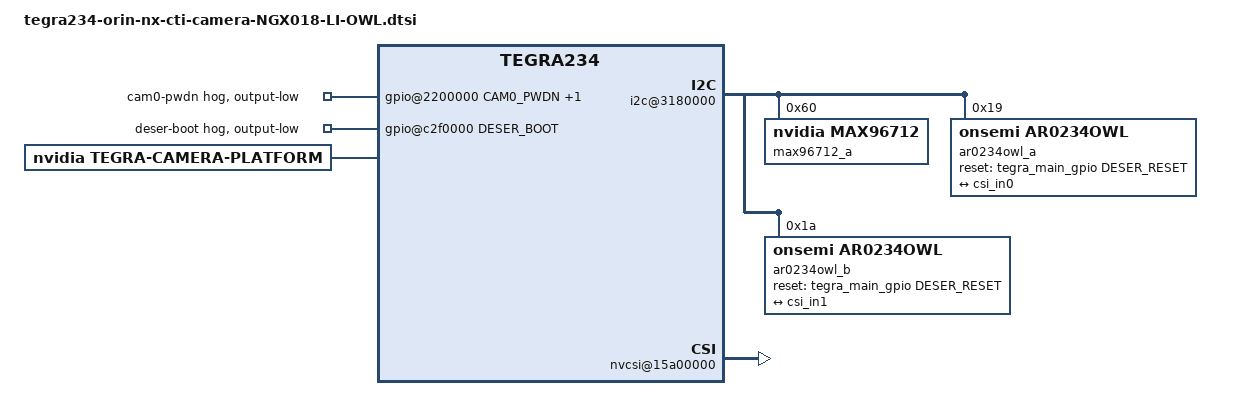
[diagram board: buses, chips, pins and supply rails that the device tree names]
/*
 * Copyright (c) 2022, Connect Tech Inc.  All rights reserved.
 *
 * This program is free software; you can redistribute it and/or modify it
 * under the terms and conditions of the GNU General Public License,
 * version 2, as published by the Free Software Foundation.
 *
 * This program is distributed in the hope it will be useful, but WITHOUT
 * ANY WARRANTY; without even the implied warranty of MERCHANTABILITY or
 * FITNESS FOR A PARTICULAR PURPOSE.  See the GNU General Public License for
 * more details.
 *
 * You should have received a copy of the GNU General Public License
 * along with this program.  If not, see <http://www.gnu.org/licenses/>.
 */

//#include "tegra234-orin-agx-cti-csi.dtsi"
#include "dt-bindings/clock/tegra234-clock.h"

// #define RST_IO_EXP 			TEGRA234_MAIN_GPIO(AC,1)
// #define PWM_CALIB_GPIO 		TEGRA234_MAIN_GPIO(H,7) //CAM0_PWDN
// #define TRIGGER_SEL 		TEGRA234_MAIN_GPIO(I,0) //CAM0_RST
// #define PWR_EN				TEGRA234_MAIN_GPIO(AC, 7)

#define CAM0_PWDN	TEGRA234_MAIN_GPIO(H, 6)
// trig 	- 	GPIO3 PR.00 	- 	MFP7
// reset 	- 	GPIO3 PQ.05 	- 	MFP8
// boot 	- 	GPIO3 PCC.03 	- 	MFP9
// int 		- 	GPIO3 PCC.01 	- 	MFP10
#define DESER_RESET TEGRA234_MAIN_GPIO(Q, 5)
#define DESER_TRIG  TEGRA234_MAIN_GPIO(R, 0)
#define DESER_BOOT  TEGRA234_AON_GPIO(CC, 3)
#define DESER_INT   TEGRA234_AON_GPIO(CC, 1)

#define CAM_LANES 	4
#define CAM_LANES_STRING "4"
#define MODE_VC "0"
#define LANE_POLARITY "6"
#define SERDES_PIX_CLK_HZ "590000000" 
#define PIX_CLK_HZ   "134400000"
#define TRIG_MODE 1
#define MAX929X_AB 1
#define MAX929X_A  0

#define TEGRA_SINTERFACE "serial_a"

                                        

#define LI_OWL_MODE0 mode0 { \
					mclk_khz = "24000"; \
					num_lanes = CAM_LANES_STRING; \
					tegra_sinterface = TEGRA_SINTERFACE; \
					phy_mode = "DPHY"; \
					vc_id = MODE_VC; \
					discontinuous_clk = "no"; \
					dpcm_enable = "false"; \
					cil_settletime = "0"; \
					dynamic_pixel_bit_depth = "10"; \
					csi_pixel_bit_depth = "10"; \
					mode_type = "bayer"; \
					pixel_phase = "grbg"; \
					active_w = "1920"; \
					active_h = "1200"; \
					readout_orientation = "0"; \
					line_length = "2448"; \
					inherent_gain = "1"; \
					mclk_multiplier = "3.01"; \
					lane_polarity = LANE_POLARITY; \
					pix_clk_hz = PIX_CLK_HZ; \
					serdes_pix_clk_hz = SERDES_PIX_CLK_HZ; \
					gain_factor = "100"; \
					min_gain_val = "100"; \
					max_gain_val = "1600"; \
					step_gain_val = "1"; \
					default_gain = "100"; \
					min_hdr_ratio = "1"; \
					max_hdr_ratio = "1"; \
					framerate_factor = "1000000"; \
					min_framerate = "30000000"; \
					max_framerate = "30000000"; \
					step_framerate = "30000000"; \
					default_framerate = "30000000"; \
					exposure_factor = "1000000"; \
					min_exp_time = "28"; \
					max_exp_time = "22000"; \
					step_exp_time = "1"; \
					default_exp_time = "22000"; \
					embedded_metadata_height = "0"; \
				}; \


//serdes_pix_clk_hz = "299000000"; //orig val

/ {

	gpio@2200000 {
		status = "okay";
		camera-control-output-low {
			gpio-hog;
			output-low;
			gpios = <CAM0_PWDN 0 DESER_RESET 0>;
			label = "cam0-pwdn", "deser-reset";
			status = "okay";
		};
	};

	gpio@c2f0000 {
		status = "okay";
		camera-control-output-low-aon {
			gpio-hog;
			output-low;
			gpios = <DESER_BOOT 0>;
			label = "deser-boot";
			status = "okay";
		};
	};

    i2c@3180000 {
		status = "okay";
		#address-cells = <1>;
		#size-cells = <0>;


		max96712_a@60 {
			compatible = "nvidia,max96712";
			reg = <0x60>;
			channel = "a";
		};

		ar0234owl_a@19 {
			status = "okay";
			devnode = "video0";
			devnode-bus = "2";
			reg = <0x19>;
			compatible = "onsemi,ar0234owl";
			clocks = <&bpmp_clks TEGRA234_CLK_EXTPERIPH1>,<&bpmp_clks TEGRA234_CLK_EXTPERIPH1>;
			mclk = "extperiph1";
			channel = "a";
			link = "a";
			reset-gpios = <&tegra_main_gpio DESER_RESET GPIO_ACTIVE_HIGH>;
			sync_sensor = "OWL1";
			sync_sensor_index = <1>;
			reg_mux = <0>;
			camera_index = "a";
			clock-names = "extperiph1","pllp_grtba";
			master-mode = <TRIG_MODE>; //master mode
			physical_w = "15.0";
			physical_h = "12.5";
			sensor_model = "ar0234owl";
			post_crop_frame_drop = "0";
			use_sensor_mode_id = "true";
			port-split = <MAX929X_AB>; //split over port A && port B
			//has-eeprom;
			
			LI_OWL_MODE0

			ports {
				#address-cells = <1>;
				#size-cells = <0>;
				port@0 {
					reg = <0>;
					cam_out0: endpoint {
						vc-id = <0>;
						port-index = <0>;
						bus-width = <4>;
						remote-endpoint = <&csi_in0>;
					};
				};
			};
		};
		ar0234owl_b@1a {
			status = "okay";
			devnode = "video1";
			devnode-bus = "2";
			reg = <0x1a>;
			compatible = "onsemi,ar0234owl";
			clocks = <&bpmp_clks TEGRA234_CLK_EXTPERIPH1>,<&bpmp_clks TEGRA234_CLK_EXTPERIPH1>;
			mclk = "extperiph1";
			channel = "n";
			link = "n";
			reset-gpios = <&tegra_main_gpio DESER_RESET GPIO_ACTIVE_HIGH>;
			sync_sensor = "OWL2";
			sync_sensor_index = <1>;
			reg_mux = <0>;
			camera_index = "b";
			clock-names = "extperiph1","pllp_grtba";
			master-mode = <TRIG_MODE>; //master mode
			physical_w = "15.0";
			physical_h = "12.5";
			sensor_model = "ar0234owl";
			post_crop_frame_drop = "0";
			use_sensor_mode_id = "true";
			port-split = <MAX929X_AB>;
			//has-eeprom;
#undef MODE_VC
#define MODE_VC "1"
#undef TEGRA_SINTERFACE
#define TEGRA_SINTERFACE "serial_c"
#undef LANE_POLARITY
#define LANE_POLARITY "0"
			LI_OWL_MODE0

			ports {
				#address-cells = <1>;
				#size-cells = <0>;
				port@0 {
					reg = <0>;
					cam_out1: endpoint {
						vc-id = <1>;
						port-index = <2>;
						bus-width = <4>;
						remote-endpoint = <&csi_in1>;
					};
				};
			};
		};
		
    };
    
    tegra-capture-vi {
        status = "okay";
        num-channels = <2>;
        ports {
	    	#address-cells = <1>;
	    	#size-cells = <0>;
	    	status = "okay";
            port@0 {
			reg = <0>;
                status = "okay";
                vi_in0: endpoint {
		    		vc-id = <0>;
                    port-index = <0>;
                    status = "okay";
                    bus-width = <CAM_LANES>;
		    		remote-endpoint = <&csi_out0>;
                };
            };
            port@1 {
                status = "okay";
				reg = <1>;
                vi_in1: endpoint {
		    		vc-id = <1>;
                    port-index = <2>;
                    status = "okay";
                    bus-width = <CAM_LANES>;
		    		remote-endpoint = <&csi_out1>;
                };
            };
        };
    };

    host1x@13e00000 {
        nvcsi@15a00000 {
	    	num-channels = <2>;
	    	#address-cells = <1>;
	    	#size-cells = <0>;
            status = "okay";
            channel@0 {
                status = "okay";
				reg = <0>;
                ports {
		    		#address-cells = <1>;
		    		#size-cells = <0>;
                    port@0 {
                        status = "okay";
						reg = <0>;
                        csi_in0: endpoint@0 {
                            status = "okay";
                            port-index = <0>;
			    			vc-id = <0>;
			    			bus-width = <CAM_LANES>;
                            remote-endpoint = <&cam_out0>;
                        };
                    };
                    port@1 {
                        status = "okay";
						reg = <1>;
                        csi_out0: endpoint@1 {
                            status = "okay";
			    			port-index = <0>;
			    			vc-id = <0>;
			    			bus-width = <CAM_LANES>;
			    			remote-endpoint = <&vi_in0>;
                        };
                    };
                };
            };
            channel@1 {
                status = "okay";
				reg = <1>;
                ports {
		    		#address-cells = <1>;
		    		#size-cells = <0>;
                    
		    		port@0 {
						reg = <0>;
                		status = "okay";
                		csi_in1: endpoint@2 {
                            status = "okay";
			    			port-index = <2>;
			    			vc-id = <1>;
                            bus-width = <CAM_LANES>;
                            remote-endpoint = <&cam_out1>;
                        };
                    };
                    port@1 {
                        status = "okay";
						reg = <1>;
                        csi_out1: endpoint@3 {
                            status = "okay";
			    			port-index = <2>;
			    			vc-id = <1>;
			    			bus-width = <CAM_LANES>;
			    			remote-endpoint = <&vi_in1>;
                        };
                    };
                };
            };
        };
    };


    tegra-camera-platform {
        num_csi_lanes = <8>;
        max_lane_speed = <1500000>;
        min_bits_per_pixel = <10>;
        vi_peak_byte_per_pixel = <2>;
        vi_bw_margin_pct = <25>;
		max_pixel_rate = <240000>;
        isp_peak_byte_per_pixel = <5>;
        isp_bw_margin_pct = <25>;
		compatible = "nvidia, tegra-camera-platform";
		status = "okay";
        
		modules {
			status = "okay";
			module0 {
				status = "okay";
				badge = "ar0234owl_bottomleft";
				position = "bottomleft";
				orientation = "1";
				drivernode0 {
					status = "okay";
					pcl_id = "v4l2_sensor";
					devname = "ar0234owl 2-0019";
					proc-device-tree = "/proc/device-tree/i2c@3180000/ar0234owl_a@19";
				};
			};
			module1 {
				status = "okay";
				badge = "ar0234owl_bottomright";
				position = "bottomright";
				orientation = "1";
				drivernode0 {
					status = "okay";
					pcl_id = "v4l2_sensor";
					devname = "ar0234owl 2-001a";
					proc-device-tree = "/proc/device-tree/i2c@3180000/ar0234owl_b@1a";
				};
			};
        };
    };
};
